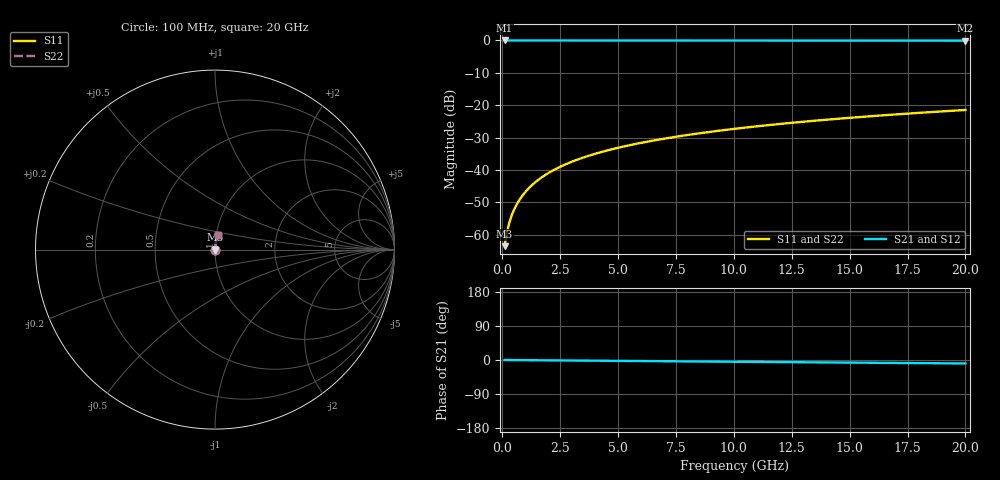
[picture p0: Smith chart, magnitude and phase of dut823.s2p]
! Touchstone file exported from HFSS 2026.1.0
!  File:  C:/ffzhzh/LocalFiles/Ansys_Project_Files/temp_train_TMRDL_823_1783156501_22436.aedt
!  Generated:  05:16:09 PM Jul  4, 2026
!  Design:  TMRDL
!  Project:  temp_train_TMRDL_823_1783156501_22436
! Variables:
!  h_bsmrdl = 2um
!  h_ox = 20um
!  h_rdl = 5um
!  h_sub = 80um
!  h_tmrdl = 5.63um
!  h_tsv = 80um
!  h_via = 3um
!  l_bsmrdl = 300um
!  l_sub = 508.09um
!  l_tmrdl = 108.09um
!  m_sub = 200um
!  pitch = 44.91um
!  r_tsv = 6um
!  s_tmrdl = 10um
!  w_bsmrdl = 18um
!  w_sub = 500um
!  w_tmrdl = 22.19um
!  x_tsv_center1 = 119.185um
!  x_tsv_center2 = 437.185um
!  x_tsv_center3 = 567.465um
!  x_tsv_center4 = 885.465um
!  x_tsv_center5 = 1015.745um
!  x_tsv_center6 = 1333.745um
# GHz S MA R 50.000000
! Terminal data exported
! Port[1] = TM_RDL1_1_T1
! Port[2] = TM_RDL1_1_T2
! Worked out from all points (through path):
!   200 points, 100 MHz to 20 GHz, reference 50 ohm
!   highest |S21| = 0.00 dB at 100 MHz (marker M1); lowest = -0.1 dB at 20 GHz (marker M2)
!   group delay of S21, straight-line fit = 1.26 ps
!   lowest |S11| = -63.5 dB at 100 MHz (marker M3), VSWR 1.00, Z = 50 + j0.0493 ohm
!   |S11| at or under -10 dB: start of sweep to end of sweep
!   |S22| runs from -63.5 to -21.5 dB; largest |S21 - S12| = 2.1e-15
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0.1  0.000665 47.7  0.9996 -0.0  0.9996 -0.0  0.000665 47.7
! Gamma 0 0 0 0
! Port Impedance 50 0 50 0
0.2  0.001081 63.8  0.9995 -0.1  0.9995 -0.1  0.001081 63.8
0.3  0.00152 70.4  0.9995 -0.1  0.9995 -0.1  0.00152 70.4
0.4  0.001958 74.0  0.9995 -0.2  0.9995 -0.2  0.001958 74.0
0.5  0.002395 76.3  0.9994 -0.2  0.9994 -0.2  0.002395 76.3
0.7  0.003269 79.3  0.9994 -0.3  0.9994 -0.3  0.003269 79.3
0.8  0.003708 80.2  0.9994 -0.4  0.9994 -0.4  0.003708 80.2
1  0.004587 81.6  0.9994 -0.5  0.9994 -0.5  0.004587 81.6
1.2  0.005468 82.6  0.9993 -0.6  0.9993 -0.6  0.005468 82.6
1.4  0.006351 83.2  0.9993 -0.7  0.9993 -0.7  0.006351 83.2
1.7  0.007676 83.9  0.9992 -0.8  0.9992 -0.8  0.007676 83.9
2  0.008998 84.3  0.9992 -0.9  0.9992 -0.9  0.008998 84.3
2.7  0.01207 84.6  0.9991 -1.3  0.9991 -1.3  0.01207 84.6
3.5  0.01555 84.7  0.9989 -1.6  0.9989 -1.6  0.01555 84.7
4.2  0.01857 84.6  0.9987 -2.0  0.9987 -2.0  0.01857 84.6
5  0.02199 84.4  0.9985 -2.3  0.9985 -2.3  0.02199 84.4
6.8  0.02962 84.0  0.9981 -3.1  0.9981 -3.1  0.02962 84.0
8.3  0.03593 83.5  0.9977 -3.8  0.9977 -3.8  0.03593 83.5
10.1  0.04347 82.9  0.9972 -4.6  0.9972 -4.6  0.04347 82.9
13.4  0.05721 81.7  0.9962 -6.1  0.9962 -6.1  0.05721 81.7
16.7  0.07085 80.4  0.9951 -7.6  0.9951 -7.6  0.07085 80.4
20  0.08437 79.1  0.9938 -9.1  0.9938 -9.1  0.08437 79.1
